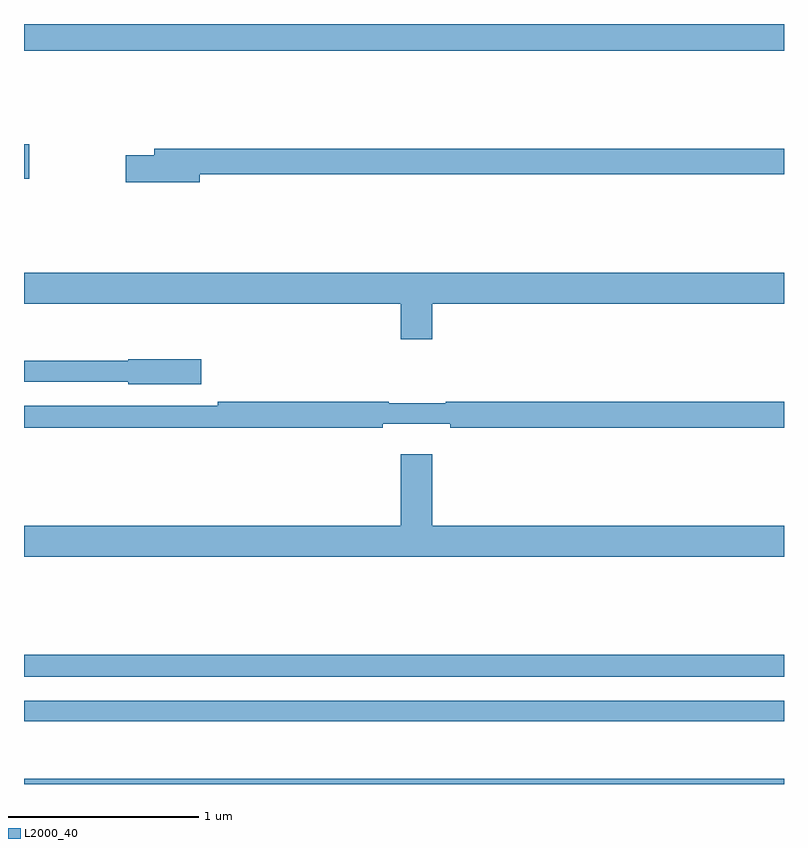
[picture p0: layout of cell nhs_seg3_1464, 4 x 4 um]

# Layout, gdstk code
import gdstk
lib = gdstk.Library(unit=1e-6, precision=1e-09)
def R(c, l, rs):  # rectangles x0, y0, x1, y1
    for r in rs: c.add(gdstk.rectangle(r[:2], r[2:], *l))
def P(c, l, *ps):  # polygons
    for p in ps: c.add(gdstk.Polygon(p, *l))
L2000_40 = (2000, 40)

nhs_seg3_1464 = lib.new_cell('nhs_seg3_1464')
R(nhs_seg3_1464, L2000_40, [(187,686.4,191,686.428), (187,686.73,191,686.838), (187,686.964,191,687.08), (187,689.585,187.027,689.768), (187,690.26,191,690.4)])
P(nhs_seg3_1464, L2000_40, [(187.924,689.608),(191,689.608),(191,689.744),(187.685,689.744),(187.685,689.708),(187.536,689.708),(187.536,689.566),(187.924,689.566)],
  [(189.148,688.928),(191,688.928),(191,689.092),(187,689.092),(187,688.928),(188.984,688.928),(188.984,688.74),(189.148,688.74)],
  [(187.933,688.635),(187.548,688.635),(187.548,688.627),(187,688.627),(187,688.518),(187.548,688.518),(187.548,688.505),(187.933,688.505)],
  [(188.888,688.295),(189.244,688.295),(189.244,688.276),(191,688.276),(191,688.412),(189.22,688.412),(189.22,688.405),(188.92,688.405),(188.92,688.412),(188.02,688.412),(188.02,688.392),(187,688.392),(187,688.276),(188.888,688.276)],
  [(191,687.76),(189.148,687.76),(189.148,688.135),(188.984,688.135),(188.984,687.76),(187,687.76),(187,687.596),(191,687.596)])

lib.write_gds('nhs_seg3_1464.gds')
